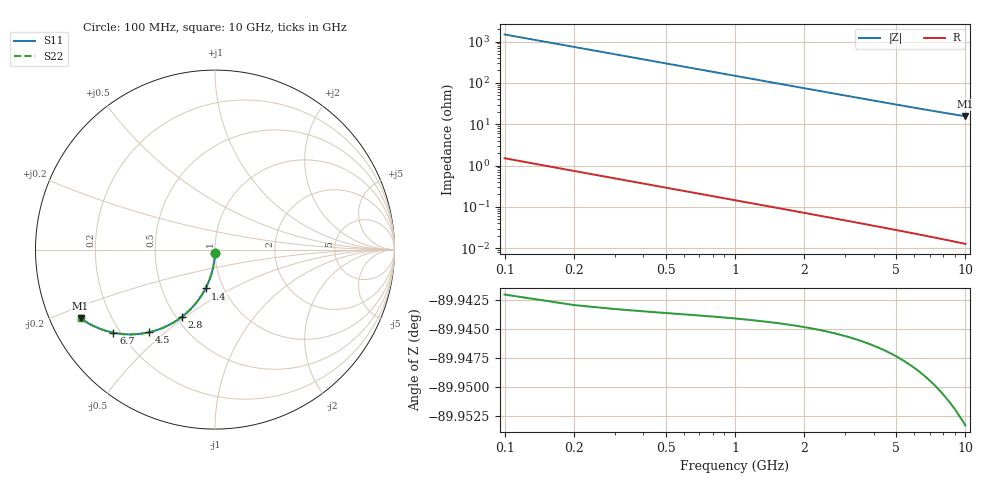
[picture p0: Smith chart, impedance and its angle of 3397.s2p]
# Hz S RI R 50.00
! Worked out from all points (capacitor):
!   100 points, 100 MHz to 10 GHz, reference 50 ohm
!   read as one part in shunt: C = 1.07 pF near 100 MHz
!   lowest |Z| = 15.6 ohm at 10 GHz (marker M1)
!   S11 on the Smith chart (normalised r, x): 100 MHz: 1.00, -0.03; 1.4 GHz: 0.82, -0.37; 2.8 GHz: 0.54, -0.49; 4.5 GHz: 0.31, -0.44; 6.7 GHz: 0.17, -0.35; 10 GHz: 0.09, -0.24
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1e8  -0.000212 -0.0163  0.9996 -0.0173  0.9996 -0.0173  -0.000212 -0.0163
2e8  -0.00107 -0.0326  0.9988 -0.0345  0.9988 -0.0345  -0.00107 -0.0326
3e8  -0.00249 -0.0489  0.9973 -0.0517  0.9973 -0.0517  -0.00249 -0.0489
4e8  -0.00447 -0.065  0.9953 -0.0688  0.9953 -0.0688  -0.00447 -0.065
5e8  -0.007 -0.0811  0.9928 -0.0857  0.9928 -0.0857  -0.007 -0.0811
6e8  -0.0101 -0.097  0.9897 -0.1026  0.9897 -0.1026  -0.0101 -0.097
7e8  -0.0137 -0.1128  0.9861 -0.1193  0.9861 -0.1193  -0.0137 -0.1128
9e8  -0.0224 -0.1437  0.9774 -0.1521  0.9774 -0.1521  -0.0224 -0.1437
1.1e9  -0.0331 -0.1737  0.9666 -0.1839  0.9666 -0.1839  -0.0331 -0.1737
1.4e9  -0.0526 -0.2165  0.9471 -0.2296  0.9471 -0.2296  -0.0526 -0.2165
1.8e9  -0.0842 -0.269  0.9155 -0.2858  0.9155 -0.2858  -0.0842 -0.269
2.3e9  -0.1306 -0.326  0.869 -0.3475  0.869 -0.3475  -0.1306 -0.326
2.8e9  -0.1824 -0.3728  0.8171 -0.399  0.8171 -0.399  -0.1824 -0.3728
3.4e9  -0.248 -0.4156  0.7513 -0.4475  0.7513 -0.4475  -0.248 -0.4156
3.9e9  -0.3031 -0.4409  0.6961 -0.4776  0.6961 -0.4776  -0.3031 -0.4409
4.5e9  -0.3674 -0.4605  0.6315 -0.503  0.6315 -0.503  -0.3674 -0.4605
5.1e9  -0.4281 -0.4702  0.5705 -0.5186  0.5705 -0.5186  -0.4281 -0.4702
5.8e9  -0.493 -0.4718  0.5053 -0.5271  0.5053 -0.5271  -0.493 -0.4718
6.7e9  -0.5662 -0.4628  0.4315 -0.527  0.4315 -0.527  -0.5662 -0.4628
7.5e9  -0.6219 -0.4479  0.3753 -0.5202  0.3753 -0.5202  -0.6219 -0.4479
8.4e9  -0.6749 -0.4264  0.3215 -0.508  0.3215 -0.508  -0.6749 -0.4264
1e10  -0.7486 -0.3826  0.2463 -0.481  0.2463 -0.481  -0.7486 -0.3826
